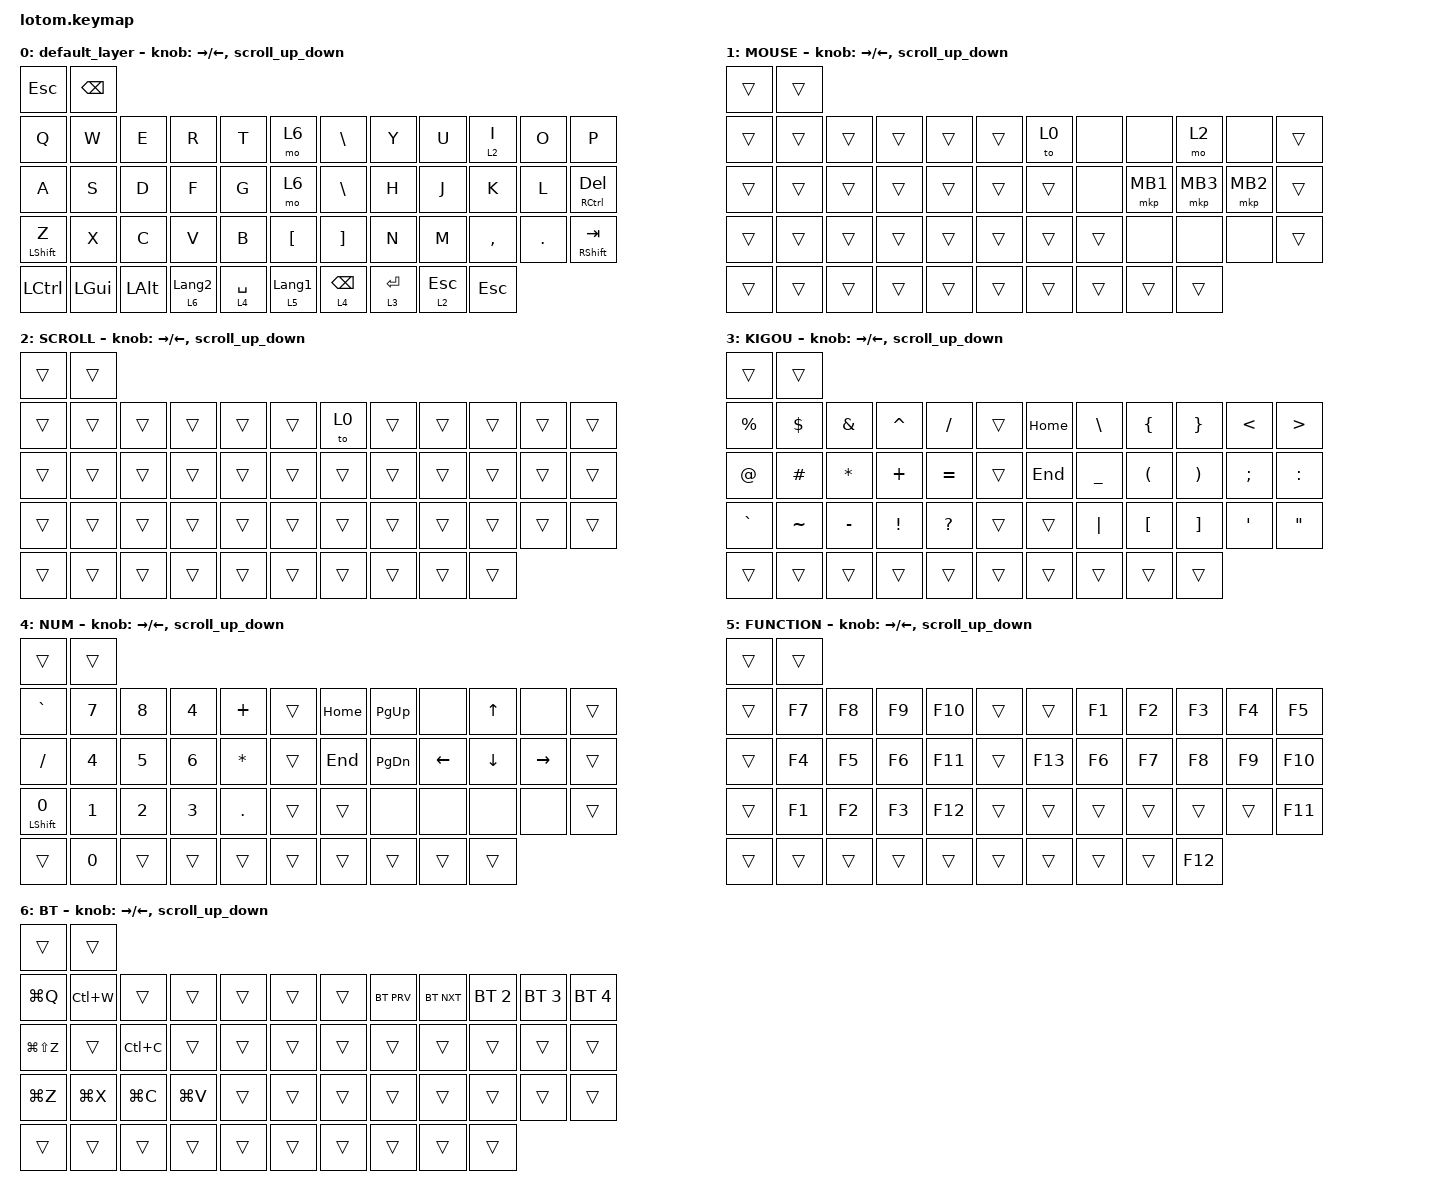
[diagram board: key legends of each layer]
#include <behaviors.dtsi>
#include <dt-bindings/zmk/bt.h>
#include <dt-bindings/zmk/keys.h>
#include <dt-bindings/zmk/pointing.h>

#define ZMK_POINTING_DEFAULT_SCRL_VAL 80

/ {
    behaviors {
        scroll_up_down: behavior_sensor_rotate_mouse_wheel_up_down {
            compatible = "zmk,behavior-sensor-rotate";
            label = "ENCODER_MSC_DOWN_UP";
            #sensor-binding-cells = <0>;
            bindings = <&msc SCRL_DOWN>, <&msc SCRL_UP>;

            tap-ms = <20>;
        };

        tab_slide: behavior_sensor_rotate_tab_slide {
            compatible = "zmk,behavior-sensor-rotate";
            label = "ENCODER_TAB_SLIDE";
            #sensor-binding-cells = <0>;
            bindings = <&kp LA(LG(RIGHT_ARROW))>, <&kp LA(LG(LEFT_ARROW))>;

            tap-ms = <20>;
        };
    };

    keymap {
        compatible = "zmk,keymap";

        default_layer {
            bindings = <
&kp ESCAPE        &kp BACKSPACE
&kp Q             &kp W          &kp E         &kp R             &kp T        &mo 6             &kp BACKSLASH      &kp Y        &kp U         &lt 2 I    &kp O    &kp P
&kp A             &kp S          &kp D         &kp F             &kp G        &mo 6             &kp BACKSLASH      &kp H        &kp J         &kp K      &kp L    &mt RCTRL DEL
&mt LEFT_SHIFT Z  &kp X          &kp C         &kp V             &kp B        &kp LEFT_BRACKET  &kp RIGHT_BRACKET  &kp N        &kp M         &kp COMMA  &kp DOT  &mt RIGHT_SHIFT TAB
&kp LCTRL         &kp LEFT_GUI   &kp LEFT_ALT  &lt 6 LANGUAGE_2  &lt 4 SPACE  &lt 5 LANGUAGE_1  &lt 4 BACKSPACE    &lt 3 ENTER  &lt 2 ESCAPE  &kp ESC
            >;

            sensor-bindings = <
                &inc_dec_kp RIGHT_ARROW LEFT_ARROW
                &scroll_up_down
            >;
        };

        MOUSE {
            bindings = <
&trans  &trans
&trans  &trans  &trans  &trans  &trans  &trans  &to 0   &none   &none     &mo 2     &none     &trans
&trans  &trans  &trans  &trans  &trans  &trans  &trans  &none   &mkp MB1  &mkp MB3  &mkp MB2  &trans
&trans  &trans  &trans  &trans  &trans  &trans  &trans  &trans  &none     &none     &none     &trans
&trans  &trans  &trans  &trans  &trans  &trans  &trans  &trans  &trans    &trans
            >;

            sensor-bindings = <
                &inc_dec_kp RIGHT_ARROW LEFT_ARROW
                &scroll_up_down
            >;
        };

        SCROLL {
            bindings = <
&trans  &trans
&trans  &trans  &trans  &trans  &trans  &trans  &to 0   &trans  &trans  &trans  &trans  &trans
&trans  &trans  &trans  &trans  &trans  &trans  &trans  &trans  &trans  &trans  &trans  &trans
&trans  &trans  &trans  &trans  &trans  &trans  &trans  &trans  &trans  &trans  &trans  &trans
&trans  &trans  &trans  &trans  &trans  &trans  &trans  &trans  &trans  &trans
            >;

            sensor-bindings = <
                &inc_dec_kp RIGHT_ARROW LEFT_ARROW
                &scroll_up_down
            >;
        };

        KIGOU {
            bindings = <
&trans       &trans
&kp PERCENT  &kp DLLR   &kp AMPERSAND  &kp CARET        &kp SLASH     &trans  &kp HOME  &kp BACKSLASH  &kp LEFT_BRACE        &kp RIGHT_BRACE        &kp LESS_THAN     &kp GREATER_THAN
&kp AT       &kp HASH   &kp ASTRK      &kp PLUS         &kp EQUAL     &trans  &kp END   &kp UNDER      &kp LEFT_PARENTHESIS  &kp RIGHT_PARENTHESIS  &kp SEMI          &kp COLON
&kp GRAVE    &kp TILDE  &kp MINUS      &kp EXCLAMATION  &kp QUESTION  &trans  &trans    &kp PIPE       &kp LEFT_BRACKET      &kp RIGHT_BRACKET      &kp SINGLE_QUOTE  &kp DOUBLE_QUOTES
&trans       &trans     &trans         &trans           &trans        &trans  &trans    &trans         &trans                &trans
            >;

            sensor-bindings = <
                &inc_dec_kp RIGHT_ARROW LEFT_ARROW
                &scroll_up_down
            >;
        };

        NUM {
            bindings = <
&trans                   &trans
&kp GRAVE                &kp NUMBER_7  &kp NUMBER_8  &kp NUMBER_4  &kp PLUS      &trans  &kp HOME  &kp PAGE_UP    &none           &kp UP_ARROW    &none            &trans
&kp SLASH                &kp NUMBER_4  &kp NUMBER_5  &kp NUMBER_6  &kp ASTERISK  &trans  &kp END   &kp PAGE_DOWN  &kp LEFT_ARROW  &kp DOWN_ARROW  &kp RIGHT_ARROW  &trans
&mt LEFT_SHIFT NUMBER_0  &kp NUMBER_1  &kp NUMBER_2  &kp NUMBER_3  &kp PERIOD    &trans  &trans    &none          &none           &none           &none            &trans
&trans                   &kp N0        &trans        &trans        &trans        &trans  &trans    &trans         &trans          &trans
            >;

            sensor-bindings = <
                &inc_dec_kp RIGHT_ARROW LEFT_ARROW
                &scroll_up_down
            >;
        };

        FUNCTION {
            bindings = <
&trans  &trans
&trans  &kp F7  &kp F8  &kp F9  &kp F10  &trans  &trans   &kp F1  &kp F2  &kp F3   &kp F4  &kp F5
&trans  &kp F4  &kp F5  &kp F6  &kp F11  &trans  &kp F13  &kp F6  &kp F7  &kp F8   &kp F9  &kp F10
&trans  &kp F1  &kp F2  &kp F3  &kp F12  &trans  &trans   &trans  &trans  &trans   &trans  &kp F11
&trans  &trans  &trans  &trans  &trans   &trans  &trans   &trans  &trans  &kp F12
            >;

            sensor-bindings = <
                &inc_dec_kp RIGHT_ARROW LEFT_ARROW
                &scroll_up_down
            >;
        };

        BT {
            bindings = <
&trans         &trans
&kp LG(Q)      &kp LC(W)  &trans     &trans     &trans  &trans  &trans  &bt BT_PRV  &bt BT_NXT  &bt BT_SEL 2  &bt BT_SEL 3  &bt BT_SEL 4
&kp LG(LS(Z))  &trans     &kp LC(C)  &trans     &trans  &trans  &trans  &trans      &trans      &trans        &trans        &trans
&kp LG(Z)      &kp LG(X)  &kp LG(C)  &kp LG(V)  &trans  &trans  &trans  &trans      &trans      &trans        &trans        &trans
&trans         &trans     &trans     &trans     &trans  &trans  &trans  &trans      &trans      &trans
            >;

            sensor-bindings = <
                &inc_dec_kp RIGHT_ARROW LEFT_ARROW
                &scroll_up_down
            >;
        };
    };
};
